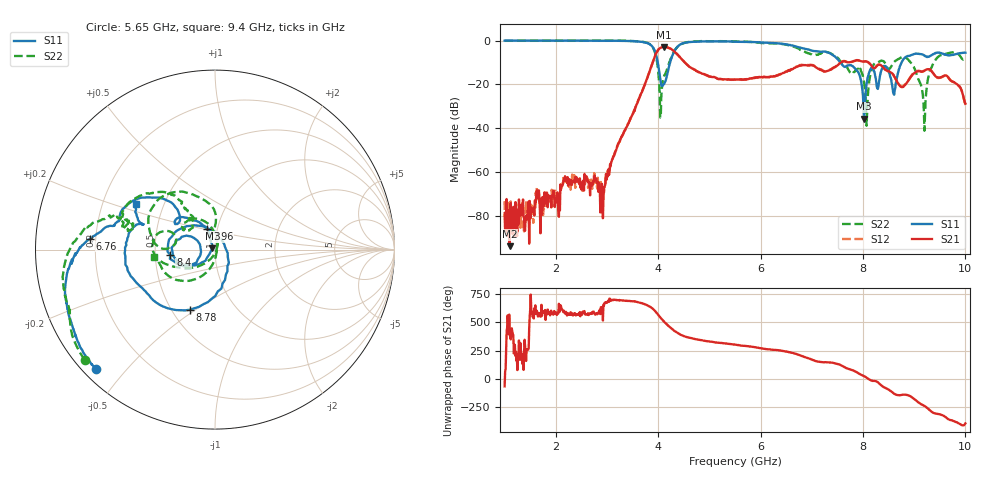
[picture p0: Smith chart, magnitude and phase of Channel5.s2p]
!Agilent Technologies,N5227A,US51270477,A.10.00.00
!File generated by LCAF-GAM-UPV software
!josevmart@iteam.upv.es
!S2P File: Measurements: S11, S21, S12, S22:
# Hz S  dB  R 50
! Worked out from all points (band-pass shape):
!   901 points, 1 GHz to 10 GHz, reference 50 ohm
!   highest |S21| = -2.88 dB at 4.11 GHz (marker M1); lowest = -94.0 dB at 1.1 GHz (marker M2)
!   |S21| within 3 dB of the highest: 3.958 GHz to 4.359 GHz (400.9 MHz wide, 9.64 % of centre)
!   lowest |S11| = -35.7 dB at 8.02 GHz (marker M3), VSWR 1.03, Z = 48.5 + j0.669 ohm
!   |S11| at or under -10 dB: 3.992 GHz to 4.232 GHz (240.6 MHz wide, 5.85 % of centre); 7.555 GHz to 8.753 GHz (1.198 GHz wide, 14.7 % of centre)
!   |S22| runs from -41.2 to 0.1 dB; largest |S21 - S12| = 0.053
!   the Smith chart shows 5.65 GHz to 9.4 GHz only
!   S11 on the Smith chart (normalised r, x): 5.65 GHz: 0.04, -0.42; 6.76 GHz: 0.18, +0.04; 7.96 GHz: 0.89, +0.21; 8.4 GHz: 0.60, -0.04; 8.78 GHz: 0.62, -0.48; 9.4 GHz: 0.35, +0.24
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1e9  0.01 -27.7  -79.06 -65.5  -73.49 -156.8  0.02 -28.0
1.1e9  0.00 -30.5  -94.02 46.7  -83.12 99.3  0.03 -30.7
2.5e9  0.02 -70.0  -68.11 -134.5  -65.91 -139.9  0.07 -71.1
2.91e9  0.01 -83.3  -71.23 -87.5  -71.72 -74.1  0.08 -84.4
3.83e9  -1.57 -143.2  -14.22 -79.1  -14.09 -80.3  -1.55 -149.9
4e9  -11.10 175.1  -4.20 -153.8  -4.16 -156.9  -14.09 147.1
4.11e9  -19.91 -95.1  -2.88 148.4  -2.94 145.2  -16.69 -60.3
4.4e9  -2.27 -60.2  -6.91 40.0  -6.94 39.5  -2.26 -63.1
5.5e9  -0.49 -129.7  -17.76 -57.3  -17.84 -56.9  -0.38 -133.5
5.65e9  -0.55 -134.8  -17.87 -66.2  -17.88 -65.5  -0.45 -139.8
6.76e9  -3.11 175.0  -11.48 -149.9  -11.42 -150.1  -3.89 164.6
7e9  -4.55 167.1  -11.32 171.3  -11.15 169.8  -6.25 162.6
7.96e9  -18.17 111.5  -9.39 38.0  -9.36 36.7  -14.04 120.1
8.02e9  -35.74 155.1  -9.56 24.7  -9.54 25.2  -19.02 96.0
8.14e9  -13.27 -160.3  -10.68 -8.9  -10.66 -9.4  -15.95 -115.4
8.4e9  -12.03 -172.9  -12.31 -71.3  -12.38 -69.9  -9.39 167.4
8.5e9  -13.79 140.3  -14.10 -93.8  -14.10 -93.8  -13.11 167.0
8.61e9  -24.73 11.6  -16.35 -129.9  -16.38 -129.2  -9.75 175.8
8.78e9  -8.84 -112.4  -21.24 -139.2  -21.08 -137.6  -7.52 145.5
9.2e9  -6.72 162.6  -13.80 122.2  -13.65 120.5  -41.21 -0.6
9.4e9  -5.90 149.9  -15.77 55.6  -15.91 55.1  -9.31 -173.1
1e10  -5.50 69.4  -28.87 -33.0  -28.97 -33.4  -8.06 78.9
